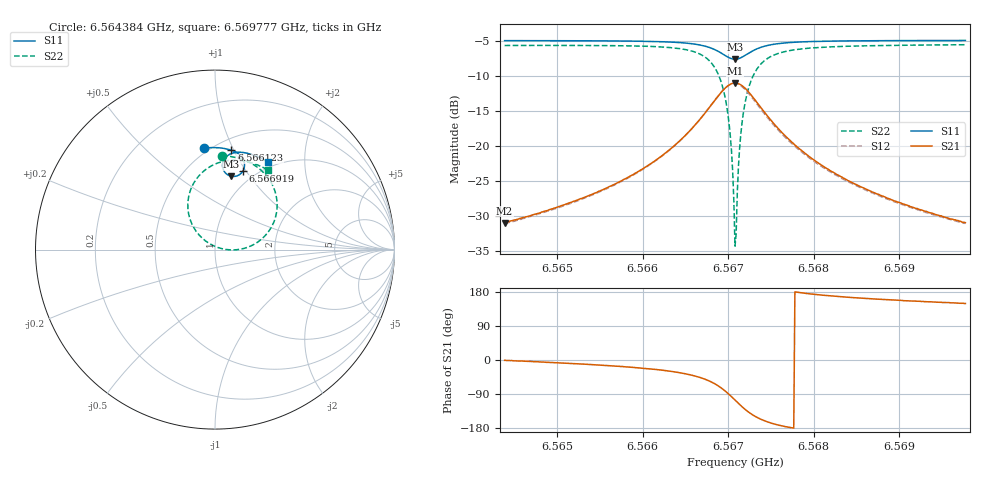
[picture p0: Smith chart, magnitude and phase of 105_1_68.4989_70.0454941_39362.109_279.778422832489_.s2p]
#  HZ  S  RI  R  50.00
! Rohde & Schwarz Vector Network Analyzer
! Rohde-Schwarz,ZNB20-2Port,1311601062101988,3.16
! Created: UTC 3/20/2024, 5:08:21 PM
! freq[Hz]  re:S11  im:S11  re:S21  im:S21  re:S12  im:S12  re:S22  im:S22
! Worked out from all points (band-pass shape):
!   401 points, 6.564384 GHz to 6.569777 GHz, reference 50 ohm
!   highest |S21| = -10.97 dB at 6.56708 GHz (marker M1); lowest = -31.0 dB at 6.564384 GHz (marker M2)
!   |S21| within 3 dB of the highest: 6.566812 GHz to 6.567351 GHz (538.9 kHz wide, 0.00821 % of centre)
!   lowest |S11| = -7.6 dB at 6.56708 GHz (marker M3), VSWR 2.44, Z = 41.4 + j41.1 ohm
!   |S11| at or under -10 dB: nowhere
!   |S22| runs from -34.4 to -5.5 dB; largest |S21 - S12| = 0.013
!   S11 on the Smith chart (normalised r, x): 6.564384 GHz: 0.47, +0.78; 6.566123 GHz: 0.61, +0.98; 6.566919 GHz: 0.87, +0.97; 6.569777 GHz: 0.91, +1.33
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6.5643839e9  -0.0608 0.5658  0.0281 -0.000451  0.0278 -0.000837  0.0389 0.524
6.5652872e9  0.0132 0.5677  0.0413 -0.00795  0.0407 -0.00833  0.1247 0.5103
6.5661231e9  0.0914 0.5536  0.0699 -0.0315  0.0689 -0.0324  0.234 0.4604
6.5661905e9  0.0987 0.5511  0.0739 -0.0358  0.0727 -0.0368  0.2456 0.4514
6.5667028e9  0.1579 0.5002  0.1088 -0.1232  0.1063 -0.1256  0.3439 0.282
6.5668242e9  0.1644 0.4688  0.1012 -0.1781  0.0969 -0.1815  0.336 0.1771
6.5669185e9  0.1552 0.4372  0.0683 -0.2325  0.0607 -0.2355  0.277 0.075
6.5669725e9  0.1399 0.42  0.0312 -0.2606  0.0212 -0.2621  0.2088 0.0246
6.5670129e9  0.1234 0.4109  -0.00576 -0.2741  -0.0173 -0.2735  0.1411 0.00198
6.5670399e9  0.1104 0.4079  -0.0336 -0.2776  -0.0456 -0.2749  0.091 -0.00187
6.5670668e9  0.0969 0.4077  -0.0623 -0.2755  -0.0743 -0.2706  0.0399 0.00495
6.5670803e9  0.0899 0.4087  -0.0767 -0.2723  -0.0883 -0.2664  0.0149 0.012
6.5670938e9  0.0833 0.4106  -0.0906 -0.2676  -0.1019 -0.2607  -0.00894 0.0218
6.5671073e9  0.0768 0.4133  -0.1038 -0.2616  -0.1146 -0.2538  -0.0316 0.034
6.5671343e9  0.0654 0.4203  -0.1278 -0.2463  -0.1372 -0.2368  -0.0717 0.0642
6.5671747e9  0.0522 0.4346  -0.1559 -0.2169  -0.1626 -0.2059  -0.1164 0.1194
6.5672286e9  0.0431 0.4566  -0.1774 -0.1734  -0.1805 -0.1621  -0.1468 0.1982
6.567296e9  0.0432 0.482  -0.1835 -0.1235  -0.1833 -0.1136  -0.1482 0.2856
6.5675387e9  0.0806 0.5304  -0.141 -0.0278  -0.1379 -0.0236  -0.0513 0.4464
6.5679836e9  0.1437 0.5423  -0.0805 0.00868  -0.0786 0.00998  0.0853 0.4974
6.5688869e9  0.228 0.5215  -0.0389 0.0151  -0.0381 0.0154  0.2155 0.4799
6.5697768e9  0.2938 0.4894  -0.0242 0.0145  -0.0238 0.0146  0.2936 0.4438
